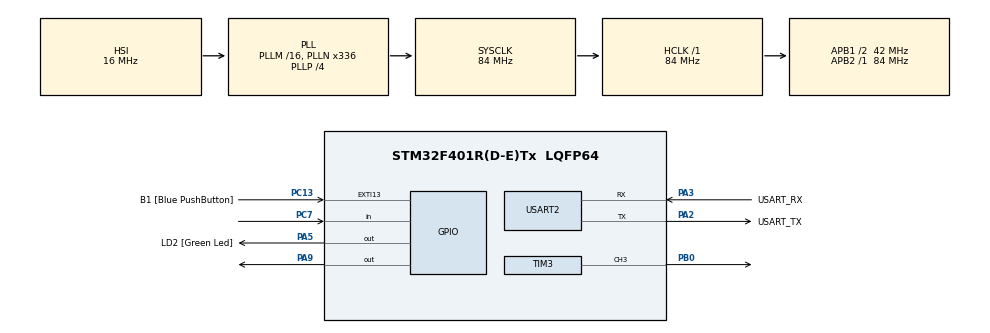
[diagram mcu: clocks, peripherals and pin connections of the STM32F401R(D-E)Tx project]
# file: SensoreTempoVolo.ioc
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Mcu.Family=STM32F4
Mcu.Name=STM32F401R(D-E)Tx
Mcu.Package=LQFP64
NVIC.PriorityGroup=NVIC_PRIORITYGROUP_0
PA13.GPIO_Label=TMS
PA13.Mode=Serial_Wire
PA13.Signal=SYS_JTMS-SWDIO
PA14.GPIO_Label=TCK
PA14.Mode=Serial_Wire
PA14.Signal=SYS_JTCK-SWCLK
PA2.GPIO_Label=USART_TX
PA2.GPIO_Mode=GPIO_MODE_AF_PP
PA2.GPIO_PuPd=GPIO_NOPULL
PA2.GPIO_Speed=GPIO_SPEED_FREQ_LOW
PA2.Mode=Asynchronous
PA2.Signal=USART2_TX
PA3.GPIO_Label=USART_RX
PA3.GPIO_Mode=GPIO_MODE_AF_PP
PA3.GPIO_PuPd=GPIO_NOPULL
PA3.GPIO_Speed=GPIO_SPEED_FREQ_LOW
PA3.Mode=Asynchronous
PA3.Signal=USART2_RX
PA5.GPIO_Label=LD2 [Green Led]
PA5.GPIO_Mode=GPIO_MODE_OUTPUT_PP
PA5.GPIO_PuPd=GPIO_NOPULL
PA5.GPIO_Speed=GPIO_SPEED_FREQ_LOW
PA5.Signal=GPIO_Output
PA9.Signal=GPIO_Output
PB0.Signal=S_TIM3_CH3
PB3.GPIO_Label=SWO
PB3.Signal=SYS_JTDO-SWO
PC13-ANTI_TAMP.GPIO_Label=B1 [Blue PushButton]
PC13-ANTI_TAMP.GPIO_ModeDefaultEXTI=GPIO_MODE_IT_FALLING
PC13-ANTI_TAMP.GPIO_PuPd=GPIO_NOPULL
PC13-ANTI_TAMP.Signal=GPXTI13
PC14-OSC32_IN.Mode=LSE-External-Oscillator
PC14-OSC32_IN.Signal=RCC_OSC32_IN
PC15-OSC32_OUT.Mode=LSE-External-Oscillator
PC15-OSC32_OUT.Signal=RCC_OSC32_OUT
PC7.Signal=GPIO_Input
PH0\ -\ OSC_IN.Mode=HSE-External-Clock-Source
PH0\ -\ OSC_IN.Signal=RCC_OSC_IN
PH1\ -\ OSC_OUT.Mode=HSE-External-Clock-Source
PH1\ -\ OSC_OUT.Signal=RCC_OSC_OUT
ProjectManager.HeapSize=0x200
ProjectManager.StackSize=0x400
ProjectManager.TargetToolchain=STM32CubeIDE
RCC.48MHZClocksFreq_Value=48000000
RCC.AHBFreq_Value=84000000
RCC.APB1CLKDivider=RCC_HCLK_DIV2
RCC.APB1Freq_Value=42000000
RCC.APB1TimFreq_Value=84000000
RCC.APB2Freq_Value=84000000
RCC.APB2TimFreq_Value=84000000
RCC.CortexFreq_Value=84000000
RCC.HCLKFreq_Value=84000000
RCC.HSE_VALUE=8000000
RCC.HSI_VALUE=16000000
RCC.PLLN=336
RCC.PLLP=RCC_PLLP_DIV4
RCC.PLLQ=7
RCC.SYSCLKFreq_VALUE=84000000
RCC.SYSCLKSource=RCC_SYSCLKSOURCE_PLLCLK
RCC.VCOOutputFreq_Value=336000000
SH.S_TIM3_CH3.0=TIM3_CH3,PWM Generation3 CH3
TIM2.Channel-Output\ Compare1\ No\ Output=TIM_CHANNEL_1
TIM2.Prescaler=84
TIM3.AutoReloadPreload=TIM_AUTORELOAD_PRELOAD_ENABLE
TIM3.Channel-PWM\ Generation3\ CH3=TIM_CHANNEL_3
TIM3.OCFastMode_PWM-PWM\ Generation3\ CH3=TIM_OCFAST_ENABLE
TIM3.Period=10000
TIM3.Prescaler=168
TIM3.Pulse-PWM\ Generation3\ CH3=1000
USART2.VirtualMode=VM_ASYNC
VP_TIM2_VS_no_output1.Mode=Output Compare1 No Output
VP_TIM3_VS_ClockSourceINT.Mode=Internal
board=NUCLEO-F401RE

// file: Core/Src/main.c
/* USER CODE BEGIN Header */
/**
 ******************************************************************************
 * @file           : main.c
 * @brief          : Main program body
 ******************************************************************************
 * @attention
 *
 *
 *PROGETTO RADAR INSEGUITORE DI UN OGGETTO
 *
 *UNIVERSITA DEGLI STUDI DI BRESCIA
 *
 *A.A.:2022/23
 *
 *Version: 2.1 sensore verticale
 *
 *STUDENTI: - FARES PETER WILLIAM GUIRGUIS -> p.fares001@studenti.unibs.it
 *			- MIRANDOLA EDOARDO -> e.mirandola@studenti.unibs.it
 *          - PENNACCHIO MANUELE -> m.pennacchio006@studenti.unibs.it
 *
 * Copyright (c) 2023 STMicroelectronics.
 * All rights reserved.
 *
 * This software is licensed under terms that can be found in the LICENSE file
 * in the root directory of this software component.
 * If no LICENSE file comes with this software, it is provided AS-IS.
 *
 ******************************************************************************
 */
/* USER CODE END Header */
#include "main.h"

TIM_HandleTypeDef htim2;
TIM_HandleTypeDef htim3;

UART_HandleTypeDef huart2;

/* USER CODE BEGIN PV */
#define DISmax 300 // range massimo in mm di inseguimento dell'oggetto
#define DISmin 100 // range minimo in mm di inseguimento dell'oggetto
#define ANG 250    // offset per la conversione da angolo a valore di PWM
#define INCmax 25  // incremento angolo max se non trovo l'oggetto
#define INCmin 15  // incrementto standar dell'angolo per trovare l'oggetto
#define CONVAngolo 5.55555556 //varibile di conversione da angolo a valore di PWM 1000/180
#define CONVDist 0.17// varibile di conversione da tempo a mm 340/2000;

/* USER CODE END PV */

void SystemClock_Config(void);
static void MX_GPIO_Init(void);
static void MX_USART2_UART_Init(void);
static void MX_TIM2_Init(void);
static void MX_TIM3_Init(void);

/* USER CODE BEGIN PFP */

// definizione prototipo funzione delay di microsecondi non accurato
void delayMicros(int micros);
// definizione prototipo funzione per lettura in un determinato angolo tra 0°-180°
int letturaAngolo(float angolo);

float letturaAngoloDist(float angolo);
/* USER CODE END PFP */

int main(void)
{
	/* USER CODE BEGIN 1 */
	//definizione delle varibili locali

	float pos = 0.0;    //posizionamento del sensore nel centro dell'oggetto
	float pos1 = 0.0;   //posizionamento del sensore a dx dell'oggetto
	float pos2 = 0.0;   //posizionamento del sensore a sx dell'oggetto

	int ampOgg = 10; //valore di ampiezza in lettura per considerare un oggetto valido per l'inseguimento
	int check = 2;      //variabile appoggio utilizza per salvare l'indice del primo valore
	int count = 0;      // variabile di conteggio per intervallo di presenza dell'oggetto
	int incAng = 10;    //valore di incremento dell'angolo per l'inseguimento dell'oggetto
	int indice2 = 0;    //indice primo valore differente da 0 nell'array dt
	int indicescan = 0; //indice per la scansione dei dati filtrati e come end point dei dati
	int let = 0;        //variabile per la presenza o meno dell'oggetto nel centro
	int let1 = 0;       //variabile per la presenza o meno dell'oggetto a dx
	int let2 = 0;       //variabile per la presenza o meno dell'oggetto a sx
	int stato = 2.;     //variabile per la gestione dello stato corente del radar

	long int lettura = 0; // valore della distanza letta in mm dell'oggetto
	volatile int dt[180]; // array contenete i dati della scansione

	/* USER CODE END 1 */

	/* MCU Configuration--------------------------------------------------------*/

	/* Reset of all peripherals, Initializes the Flash interface and the Systick. */
	HAL_Init();

	/* Configure the system clock */
	SystemClock_Config();

	/* Initialize all configured peripherals */
	MX_GPIO_Init();
	MX_USART2_UART_Init();
	MX_TIM2_Init();
	MX_TIM3_Init();
	/* USER CODE BEGIN 2 */
	HAL_TIM_PWM_Start(&htim3, TIM_CHANNEL_3);
	/* USER CODE END 2 */

	/* Infinite loop */

	/* USER CODE BEGIN WHILE */
	TIM3->CCR3= 750;//posizionamento del sensore a metà del range di scansione del servomotore
	delayMicros(10000);//delay di attesa per poter vedere dove si è posizionato
	while (1)
	{
		/* USER CODE END WHILE */

		/* USER CODE BEGIN 3 */
		//SCANSIONE DI 180° NEI DUE SENSI PER TROVARE L'OGGETTO
		if (stato == 2){
			//SCANSIONE IN SENSO ORARIO DI 180°
			TIM3->CCR3= 250;//posizionamento del sensore a 0°
			delayMicros(10000);//delay di attesa per posizionamento
			for(int indice =0 ; indice<181; indice++ ){
				lettura = letturaAngoloDist(indice); //richiamo funzione di lettura distanza
				if(lettura > DISmin && lettura < DISmax){//metto 0 se il valore letto è fuori dal range
					dt[indice] = lettura;
				}else{
					dt[indice] = 0;
				}
			}
		}else if(stato==3) {
			//SCANSIONE IN SENSO ANTIORARIO DI 180°
			TIM3->CCR3= 1250;//posizionamento del sensore a 180°
			delayMicros(10000);//delay di attesa per posizionamento
			for(int indice =180 ; indice>0; indice-- ){
				lettura = letturaAngoloDist(indice);//richiamo funzione di lettura distanza
				if(lettura > DISmin && lettura < DISmax){//metto 0 se il valore letto è fuori dal range
					dt[indice] = lettura;
				}else{
					dt[indice] = 0;
				}
			}
		}

		/*filtro sui valori letti su 5 campioni che possono darivare da valori di lettura
		* per confronto sui limiti del range si pongono uguali a zero
		*/
		for(int j=2; j<181; j = j+2){
			if(dt[j-2] == dt[j+2] && dt[j-2] == 0){
				dt[j-1] = 0;
				dt[j] = 0;
				dt[j+1] = 0;
			}
		}

		/* analisi dei dati filtrati e si procede con la indentificazione dell'oggetto
		*  si salva l'indice del primo valore delle letture != 0
		*  e si conta per quante volte è presnte un valore !=0 se > di 15 ho trovato l'oggetto
		*  se no continuo con l'analisi dei dati se non verifico le condizioni setto una variabile
		*  in modo da riscansionare l'area di misura
		*/

		//riniazzilizzazione variabili del filtro
		indice2 = 0;
		count = 0;
		check = 2;
		for(indicescan=0; indicescan<181; indicescan++){
			if(dt[indicescan] >1){
				if(check > 1){
					count++;//incremento per valore !=0
					indice2 = indicescan;//salvo indice val !=0
					check = 1;
				}else{
					count++;//incremento per valore !=0
				}
			}else{
				if(count>ampOgg){//se ho un oggetto interrompo il ciclo
					stato = 1;// ho trovato un oggetto che rispetta le specifiche allora interrompo il ciclo e vado nel while successivo per l'inseguimento
					break;
				}else{
					indice2 = 0;
					count = 0;//azzeramento del conteggio
					check = 2;// reset della varibile
				}
			}
		}
		//condizione per porre stato = 1 e inseguire  nel caso l'oggetto sia al limite di 180°
		if(indicescan == 181 && count >ampOgg){
			stato = 1;
		}

		//check di stato per decidere cosa devo eseguire
		if(stato == 2){//riscansiono in senso antiorario
			stato = 3;
		}else if(stato ==3){//riscansiono in senso orario
			stato = 2;
		}else if(stato ==1){//oggetto trovato calcolo la posizione
			pos = (((float)(indice2+indicescan-1))/2.0); // posizione centrale dell'oggetto
		}

		while(stato<2){//seguo l'oggetto

			//calcolo due posizioni vicino a pos per fare l'insegumento e leggo la presenza o meno dell'oggetto
			pos1 = pos -incAng;
			pos2 = pos +incAng;
			let1= letturaAngolo(pos1);
			let = letturaAngolo(pos);
			let2= letturaAngolo(pos2);

			/* di seguito in base alla risposta del sensore delle letture si decide
			 * la posizone centrale del sensore per poter fare il tracking dell'oggetto
			*/
			if(let <1 && let1<1 && let2<1){
				if(incAng>10){
					// nel caso di perdità dell'oggetto rieseguo una scansione partendo dal valore estremo più vicino a dove sono posizionato
					if(pos>90){ //se sono in posiizone >90°
						stato = 3;//parto da 180°
					}else{
						stato = 2;//parto da 0°
					}
					incAng = INCmin;
				}else{
					incAng = INCmax;
					//controllo per i limiti del range di applicazione tra 0°-180°
					//per l'iterazione successiva con incAng
					if(pos>(180-incAng)){
						pos = (180-incAng);
					}else if(pos<incAng){
						pos = incAng;
					}
				}

			}else{
				if(incAng>INCmin){
					incAng = INCmin;
				}

				if(let >1 && let1>1 && let2<1){
					pos = (pos +pos1)/2; // mi posiziono a metà del range
				}else if(let >1 && let2>1 && let1<1){
					pos = (pos +pos2)/2; // mi posiziono a metà del range
				}else if(let1>1 && let<1 && let2<1){
					pos = pos1 - incAng; // mi posiziono in manierà tale di essere più a sx del valore letto dove probabilmente c'è l'oggetto
				}else if(let2>1 && let<1 && let1<1){
					pos = pos2 + incAng; // mi posiziono in manierà tale di essere più a dx del valore letto dove probabilmente c'è l'oggetto
				}

				//controllo per i limiti del range di applicazione tra 0°-180°
				if(pos>(180-incAng)){
					pos = (180-incAng);
				}else if(pos<incAng){
					pos = incAng;
				}
			}
		}
	}

	/* USER CODE END 3 */
}

void SystemClock_Config(void)
{
	RCC_OscInitTypeDef RCC_OscInitStruct = {0};
	RCC_ClkInitTypeDef RCC_ClkInitStruct = {0};

	/** Configure the main internal regulator output voltage
	 */
	__HAL_RCC_PWR_CLK_ENABLE();
	__HAL_PWR_VOLTAGESCALING_CONFIG(PWR_REGULATOR_VOLTAGE_SCALE2);

	/** Initializes the RCC Oscillators according to the specified parameters
	 * in the RCC_OscInitTypeDef structure.
	 */
	RCC_OscInitStruct.OscillatorType = RCC_OSCILLATORTYPE_HSI;
	RCC_OscInitStruct.HSIState = RCC_HSI_ON;
	RCC_OscInitStruct.HSICalibrationValue = RCC_HSICALIBRATION_DEFAULT;
	RCC_OscInitStruct.PLL.PLLState = RCC_PLL_ON;
	RCC_OscInitStruct.PLL.PLLSource = RCC_PLLSOURCE_HSI;
	RCC_OscInitStruct.PLL.PLLM = 16;
	RCC_OscInitStruct.PLL.PLLN = 336;
	RCC_OscInitStruct.PLL.PLLP = RCC_PLLP_DIV4;
	RCC_OscInitStruct.PLL.PLLQ = 7;
	if (HAL_RCC_OscConfig(&RCC_OscInitStruct) != HAL_OK)
	{
		Error_Handler();
	}

	/** Initializes the CPU, AHB and APB buses clocks
	 */
	RCC_ClkInitStruct.ClockType = RCC_CLOCKTYPE_HCLK|RCC_CLOCKTYPE_SYSCLK
			|RCC_CLOCKTYPE_PCLK1|RCC_CLOCKTYPE_PCLK2;
	RCC_ClkInitStruct.SYSCLKSource = RCC_SYSCLKSOURCE_PLLCLK;
	RCC_ClkInitStruct.AHBCLKDivider = RCC_SYSCLK_DIV1;
	RCC_ClkInitStruct.APB1CLKDivider = RCC_HCLK_DIV2;
	RCC_ClkInitStruct.APB2CLKDivider = RCC_HCLK_DIV1;

	if (HAL_RCC_ClockConfig(&RCC_ClkInitStruct, FLASH_LATENCY_2) != HAL_OK)
	{
		Error_Handler();
	}
}

static void MX_TIM2_Init(void)
{

	TIM_MasterConfigTypeDef sMasterConfig = {0};
	TIM_OC_InitTypeDef sConfigOC = {0};

	htim2.Instance = TIM2;
	htim2.Init.Prescaler = 84;
	htim2.Init.CounterMode = TIM_COUNTERMODE_UP;
	htim2.Init.Period = 4294967295;
	htim2.Init.ClockDivision = TIM_CLOCKDIVISION_DIV1;
	htim2.Init.AutoReloadPreload = TIM_AUTORELOAD_PRELOAD_DISABLE;
	if (HAL_TIM_OC_Init(&htim2) != HAL_OK)
	{
		Error_Handler();
	}
	sMasterConfig.MasterOutputTrigger = TIM_TRGO_RESET;
	sMasterConfig.MasterSlaveMode = TIM_MASTERSLAVEMODE_DISABLE;
	if (HAL_TIMEx_MasterConfigSynchronization(&htim2, &sMasterConfig) != HAL_OK)
	{
		Error_Handler();
	}
	sConfigOC.OCMode = TIM_OCMODE_TIMING;
	sConfigOC.Pulse = 0;
	sConfigOC.OCPolarity = TIM_OCPOLARITY_HIGH;
	sConfigOC.OCFastMode = TIM_OCFAST_DISABLE;
	if (HAL_TIM_OC_ConfigChannel(&htim2, &sConfigOC, TIM_CHANNEL_1) != HAL_OK)
	{
		Error_Handler();
	}

}

static void MX_TIM3_Init(void)
{

	TIM_ClockConfigTypeDef sClockSourceConfig = {0};
	TIM_MasterConfigTypeDef sMasterConfig = {0};
	TIM_OC_InitTypeDef sConfigOC = {0};

	htim3.Instance = TIM3;
	htim3.Init.Prescaler = 168;
	htim3.Init.CounterMode = TIM_COUNTERMODE_UP;
	htim3.Init.Period = 10000;
	htim3.Init.ClockDivision = TIM_CLOCKDIVISION_DIV1;
	htim3.Init.AutoReloadPreload = TIM_AUTORELOAD_PRELOAD_ENABLE;
	if (HAL_TIM_Base_Init(&htim3) != HAL_OK)
	{
		Error_Handler();
	}
	sClockSourceConfig.ClockSource = TIM_CLOCKSOURCE_INTERNAL;
	if (HAL_TIM_ConfigClockSource(&htim3, &sClockSourceConfig) != HAL_OK)
	{
		Error_Handler();
	}
	if (HAL_TIM_PWM_Init(&htim3) != HAL_OK)
	{
		Error_Handler();
	}
	sMasterConfig.MasterOutputTrigger = TIM_TRGO_RESET;
	sMasterConfig.MasterSlaveMode = TIM_MASTERSLAVEMODE_DISABLE;
	if (HAL_TIMEx_MasterConfigSynchronization(&htim3, &sMasterConfig) != HAL_OK)
	{
		Error_Handler();
	}
	sConfigOC.OCMode = TIM_OCMODE_PWM1;
	sConfigOC.Pulse = 1000;
	sConfigOC.OCPolarity = TIM_OCPOLARITY_HIGH;
	sConfigOC.OCFastMode = TIM_OCFAST_ENABLE;
	if (HAL_TIM_PWM_ConfigChannel(&htim3, &sConfigOC, TIM_CHANNEL_3) != HAL_OK)
	{
		Error_Handler();
	}
	HAL_TIM_MspPostInit(&htim3);

}

static void MX_USART2_UART_Init(void)
{

	huart2.Instance = USART2;
	huart2.Init.BaudRate = 115200;
	huart2.Init.WordLength = UART_WORDLENGTH_8B;
	huart2.Init.StopBits = UART_STOPBITS_1;
	huart2.Init.Parity = UART_PARITY_NONE;
	huart2.Init.Mode = UART_MODE_TX_RX;
	huart2.Init.HwFlowCtl = UART_HWCONTROL_NONE;
	huart2.Init.OverSampling = UART_OVERSAMPLING_16;
	if (HAL_UART_Init(&huart2) != HAL_OK)
	{
		Error_Handler();
	}

}

static void MX_GPIO_Init(void)
{
	GPIO_InitTypeDef GPIO_InitStruct = {0};

	/* GPIO Ports Clock Enable */
	__HAL_RCC_GPIOC_CLK_ENABLE();
	__HAL_RCC_GPIOH_CLK_ENABLE();
	__HAL_RCC_GPIOA_CLK_ENABLE();
	__HAL_RCC_GPIOB_CLK_ENABLE();

	/*Configure GPIO pin Output Level */
	HAL_GPIO_WritePin(GPIOA, LD2_Pin|GPIO_PIN_9, GPIO_PIN_RESET);

	/*Configure GPIO pin : B1_Pin */
	GPIO_InitStruct.Pin = B1_Pin;
	GPIO_InitStruct.Mode = GPIO_MODE_IT_FALLING;
	GPIO_InitStruct.Pull = GPIO_NOPULL;
	HAL_GPIO_Init(B1_GPIO_Port, &GPIO_InitStruct);

	/*Configure GPIO pins : LD2_Pin PA9 */
	GPIO_InitStruct.Pin = LD2_Pin|GPIO_PIN_9;
	GPIO_InitStruct.Mode = GPIO_MODE_OUTPUT_PP;
	GPIO_InitStruct.Pull = GPIO_NOPULL;
	GPIO_InitStruct.Speed = GPIO_SPEED_FREQ_LOW;
	HAL_GPIO_Init(GPIOA, &GPIO_InitStruct);

	/*Configure GPIO pin : PC7 */
	GPIO_InitStruct.Pin = GPIO_PIN_7;
	GPIO_InitStruct.Mode = GPIO_MODE_INPUT;
	GPIO_InitStruct.Pull = GPIO_NOPULL;
	HAL_GPIO_Init(GPIOC, &GPIO_InitStruct);

}

/* USER CODE BEGIN 4 */

/**
 * Funzione per creare un delay approssimativo in us
 */
void delayMicros(int micros){
	int i=0, j=0;
	for(i=0; i<micros; i++){
		for(j=0; j<7; j++){
			;
		}
	}
}

/**
 * Implemnetazione funzione per la lettutura in un determinanto angolo
 * e restituisce se ce o no l'oggetto nel range scelto
 */

int letturaAngolo(float angolo){

	TIM3->CCR3= ANG+angolo*CONVAngolo;
	delayMicros(80000);
	// genero un pulse su Trig
	GPIOA->BSRR=1<<9;
	delayMicros(10);
	GPIOA->BSRR=1<<(9+16);
	// azzero il valore del timer
	TIM2->CNT=0;
	// attendo echo up
	while((GPIOC->IDR & 1<<7)<1);
	// inizio la misura del tempo
	HAL_TIM_Base_Start(&htim2);
	// polling di Echo up
	while((GPIOC->IDR & 1<<7)>0) {
		;
	}
	// fermo il timer quando Echo torna down
	HAL_TIM_Base_Stop(&htim2);
	//distanza misurata in mm
	float lettura = TIM2->CNT*CONVDist;
	if(lettura > DISmin && lettura < DISmax){
		return 2; // se l'oggetto è nel range
	}else{
		return 0; // se l'oggetto è fuori dal range
	}
}
/**
 * Implemnetazione funzione per la lettutura in un determinanto angolo
 * e restituisce la distanza in mm
 */

float letturaAngoloDist(float angolo){

	TIM3->CCR3= ANG+angolo*CONVAngolo;
	delayMicros(10000);
	// genero un pulse su Trig
	GPIOA->BSRR=1<<9;
	delayMicros(10);
	GPIOA->BSRR=1<<(9+16);
	// azzero il valore del timer
	TIM2->CNT=0;
	// attendo echo up
	while((GPIOC->IDR & 1<<7)<1);
	// inizio la misura del tempo
	HAL_TIM_Base_Start(&htim2);
	// polling di Echo up
	while((GPIOC->IDR & 1<<7)>0) {
		;
	}
	// fermo il timer quando Echo torna down
	HAL_TIM_Base_Stop(&htim2);
	//distanza misurata in mm
	return TIM2->CNT*CONVDist;
}

/* USER CODE END 4 */

void Error_Handler(void)
{
	__disable_irq();
	while (1)
	{
	}
}
